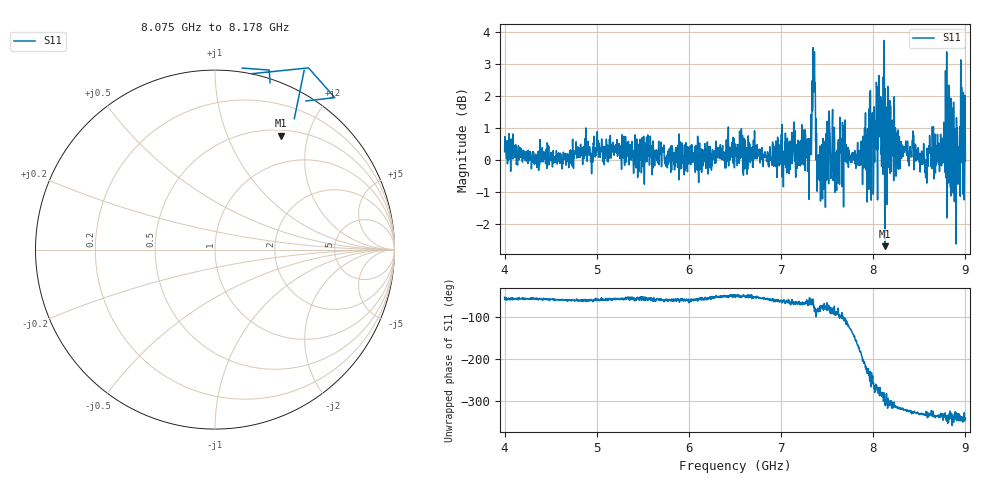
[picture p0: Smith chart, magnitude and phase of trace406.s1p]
! Created with skrf 1.8.0 (http://scikit-rf.org).
# Hz S RI R 50.0
!freq ReS11 ImS11
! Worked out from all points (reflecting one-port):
!   1601 points, 4 GHz to 9 GHz, reference 50 ohm
!   lowest |S11| = -2.7 dB at 8.125 GHz (marker M1), VSWR 6.51, Z = 28.8 + j79.1 ohm
!   phase of S11 starts at -54 deg and turns -286 deg over the sweep
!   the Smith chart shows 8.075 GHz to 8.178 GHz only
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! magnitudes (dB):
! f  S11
! 4 GHz  0.3
! 4.625 GHz  -0.3
! 5.25 GHz  0.1
! 5.875 GHz  0.2
! 6.5 GHz  0.3
! 7.038 GHz  0.1
! 7.125 GHz  0.5
! 7.297 GHz  0.7
! 7.347 GHz  3.5
! 7.359 GHz  2.6
! 7.412 GHz  -0.5
! 7.472 GHz  0.2
! 7.509 GHz  -0.1
! 7.609 GHz  -0.3
! 7.647 GHz  0.7
! 7.75 GHz  0.1
! 7.956 GHz  -0.9
! 8.056 GHz  1.2
! 8.125 GHz  -2.7
! 8.375 GHz  0.4
! 8.575 GHz  -0.1
! 8.628 GHz  -0.2
! 8.738 GHz  0.4
! 8.797 GHz  3.4
! 8.856 GHz  -0.5
! 8.919 GHz  -0.7
! 8.972 GHz  0.6
! 9 GHz  0.0
